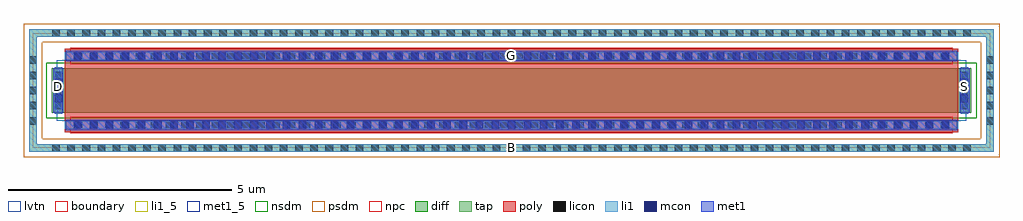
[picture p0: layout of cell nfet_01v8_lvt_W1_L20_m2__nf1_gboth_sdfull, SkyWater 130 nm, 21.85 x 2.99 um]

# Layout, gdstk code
import gdstk
lib = gdstk.Library(unit=1e-6, precision=1e-09)
def R(c, l, rs):  # rectangles x0, y0, x1, y1
    for r in rs: c.add(gdstk.rectangle(r[:2], r[2:], *l))
def A(c, l, x, y, w, h, nx, ny, dx, dy):  # array of equal rectangles
    R(c, l, [(x+i*dx, y+j*dy, x+i*dx+w, y+j*dy+h) for i in range(nx) for j in range(ny)])
diff = (65, 20)
tap = (65, 44)
poly = (66, 20)
licon = (66, 44)
li1_5 = (67, 5)
li1 = (67, 20)
mcon = (67, 44)
met1_5 = (68, 5)
met1 = (68, 20)
nsdm = (93, 44)
psdm = (94, 20)
npc = (95, 20)
lvtn = (125, 44)
boundary = (235, 4)

sky130_fd_pr__nfet_01v8_ = lib.new_cell('sky130_fd_pr__nfet_01v8_lvt_DDLPEF')
R(sky130_fd_pr__nfet_01v8_, diff, [(-10.29,-0.5,10.29,0.5)])
R(sky130_fd_pr__nfet_01v8_, tap, [(-10.8,-1.37,10.8,-1.2), (-10.8,-1.2,-10.63,1.2), (10.63,-1.2,10.8,1.2), (-10.8,1.2,10.8,1.37)])
R(sky130_fd_pr__nfet_01v8_, poly, [(-10,-0.94,10,0.94)])
A(sky130_fd_pr__nfet_01v8_, licon, -10.285, -1.37, 0.17, 0.17, 61, 2, 0.34, 2.57)
A(sky130_fd_pr__nfet_01v8_, licon, -9.775, -0.86, 0.17, 0.17, 58, 2, 0.34, 1.55)
A(sky130_fd_pr__nfet_01v8_, licon, -10.8, -0.765, 0.17, 0.17, 1, 5, 0, 0.34)
A(sky130_fd_pr__nfet_01v8_, licon, 10.63, -0.765, 0.17, 0.17, 1, 5, 0, 0.34)
A(sky130_fd_pr__nfet_01v8_, licon, -10.23, -0.425, 0.17, 0.17, 1, 3, 0, 0.34)
A(sky130_fd_pr__nfet_01v8_, licon, 10.06, -0.425, 0.17, 0.17, 1, 3, 0, 0.34)
R(sky130_fd_pr__nfet_01v8_, li1, [(-10.8,-1.37,10.8,-1.2), (-10.8,-1.2,-10.63,1.2), (10.63,-1.2,10.8,1.2), (-10,-0.86,10,-0.69), (-10.23,-0.52,-10.06,0.52), (10.06,-0.52,10.23,0.52), (-10,0.69,10,0.86), (-10.8,1.2,10.8,1.37)])
A(sky130_fd_pr__nfet_01v8_, mcon, -9.805, -0.86, 0.17, 0.17, 55, 2, 0.36, 1.55)
R(sky130_fd_pr__nfet_01v8_, mcon, [(-10.23,-0.265,-10.06,-0.095), (10.06,-0.265,10.23,-0.095), (-10.23,0.095,-10.06,0.265), (10.06,0.095,10.23,0.265)])
R(sky130_fd_pr__nfet_01v8_, met1, [(-9.98,-0.89,9.98,-0.66), (-10.26,-0.5,-10.03,0.5), (10.03,-0.5,10.26,0.5), (-9.98,0.66,9.98,0.89)])
R(sky130_fd_pr__nfet_01v8_, nsdm, [(-10.415,-0.625,10.415,0.625)])
R(sky130_fd_pr__nfet_01v8_, psdm, [(-10.925,-1.495,10.925,-1.075), (-10.925,-1.075,-10.505,1.075), (10.505,-1.075,10.925,1.075), (-10.925,1.075,10.925,1.495)])
R(sky130_fd_pr__nfet_01v8_, npc, [(-9.875,-0.96,9.875,-0.59), (-9.875,0.59,9.875,0.96)])
R(sky130_fd_pr__nfet_01v8_, lvtn, [(-10.18,-0.68,10.18,0.68)])
R(sky130_fd_pr__nfet_01v8_, boundary, [(-10.715,-1.285,10.715,1.285)])
sky130_fd_pr__nfet_01v8_.add(gdstk.Label('B', (0,-1.285), layer=67, texttype=5))
sky130_fd_pr__nfet_01v8_.add(gdstk.Label('D', (-10.145,0), layer=67, texttype=5))
sky130_fd_pr__nfet_01v8_.add(gdstk.Label('S', (10.145,0), layer=67, texttype=5))
sky130_fd_pr__nfet_01v8_.add(gdstk.Label('G', (0,0.775), layer=67, texttype=5))

nfet_01v8_lvt_w1_l20_m2_ = lib.new_cell('nfet_01v8_lvt_W1_L20_m2__nf1_gboth_sdfull')
R(nfet_01v8_lvt_w1_l20_m2_, li1_5, [(10.63,-0.085,10.8,0.085)])
R(nfet_01v8_lvt_w1_l20_m2_, li1, [(10.63,-0.085,10.8,0.085)])
R(nfet_01v8_lvt_w1_l20_m2_, met1_5, [(0.455,1.285,0.685,1.485), (20.745,1.285,20.975,1.485), (0.735,1.945,20.695,2.175)])
R(nfet_01v8_lvt_w1_l20_m2_, met1, [(0.455,1.285,0.685,1.485), (20.745,1.285,20.975,1.485), (0.735,1.945,20.695,2.175)])
nfet_01v8_lvt_w1_l20_m2_.add(gdstk.Reference(sky130_fd_pr__nfet_01v8_, (10.715,1.285)))
nfet_01v8_lvt_w1_l20_m2_.add(gdstk.Label('D', (0.57,1.385), layer=68, texttype=5))
nfet_01v8_lvt_w1_l20_m2_.add(gdstk.Label('S', (20.86,1.385), layer=68, texttype=5))
nfet_01v8_lvt_w1_l20_m2_.add(gdstk.Label('G', (10.715,2.06), layer=68, texttype=5))
nfet_01v8_lvt_w1_l20_m2_.add(gdstk.Label('B', (10.715,0), layer=67, texttype=5))

lib.write_gds('nfet_01v8_lvt_W1_L20_m2__nf1_gboth_sdfull.gds')
